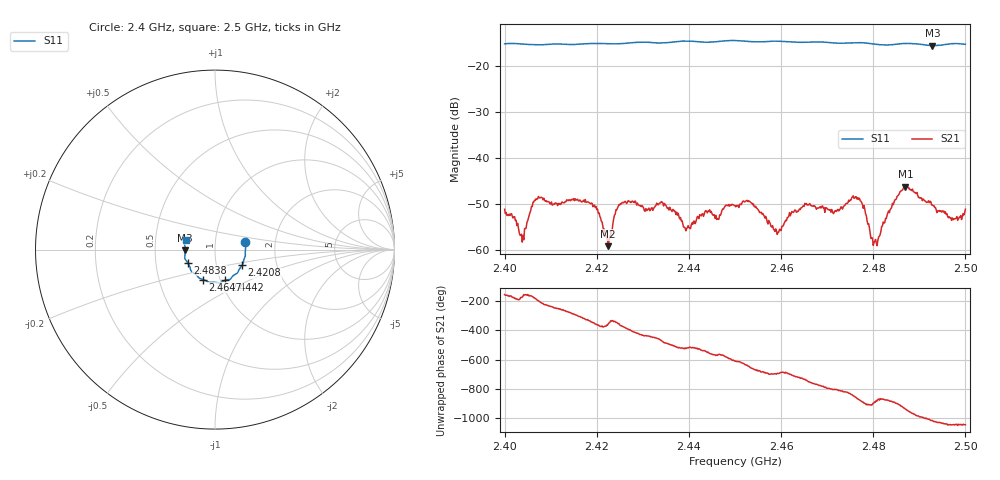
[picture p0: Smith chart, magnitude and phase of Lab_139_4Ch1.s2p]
# Hz S RI R 50
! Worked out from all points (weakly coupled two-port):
!   601 points, 2.4 GHz to 2.5 GHz, reference 50 ohm
!   highest |S21| = -46.26 dB at 2.487 GHz (marker M1); lowest = -59.2 dB at 2.4225 GHz (marker M2)
!   lowest |S11| = -15.6 dB at 2.4928 GHz (marker M3), VSWR 1.40, Z = 35.8 - j0.356 ohm
!   |S11| at or under -10 dB: start of sweep to end of sweep
!   S12 and S22 are empty: the file has one direction only
!   S11 on the Smith chart (normalised r, x): 2.4 GHz: 1.40, +0.12; 2.4208 GHz: 1.33, -0.24; 2.4442 GHz: 1.05, -0.37; 2.4647 GHz: 0.83, -0.29; 2.4838 GHz: 0.73, -0.11; 2.5 GHz: 0.72, +0.08
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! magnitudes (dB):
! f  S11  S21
! 2.4 GHz  -15.2  -51.2
! 2.4037 GHz  -15.3  -56.6
! 2.407 GHz  -15.4  -49.0
! 2.4167 GHz  -15.3  -49.6
! 2.4208 GHz  -15.2  -53.1
! 2.4225 GHz  -15.2  -59.2
! 2.4253 GHz  -15.2  -50.0
! 2.4333 GHz  -15.0  -50.2
! 2.4393 GHz  -14.6  -55.9
! 2.4442 GHz  -14.9  -51.6
! 2.45 GHz  -14.5  -50.4
! 2.4535 GHz  -14.7  -49.8
! 2.459 GHz  -14.7  -55.9
! 2.4647 GHz  -14.9  -50.6
! 2.4667 GHz  -14.8  -50.5
! 2.4767 GHz  -15.0  -48.7
! 2.4805 GHz  -15.3  -57.8
! 2.4833 GHz  -15.5  -51.6
! 2.4838 GHz  -15.4  -51.1
! 2.487 GHz  -15.1  -46.3
! 2.4928 GHz  -15.6  -50.3
! 2.5 GHz  -15.3  -51.2
